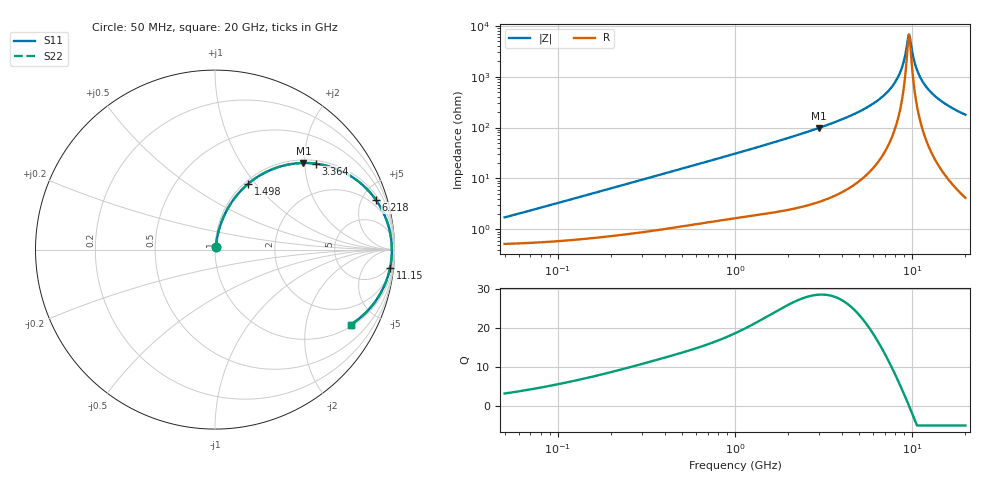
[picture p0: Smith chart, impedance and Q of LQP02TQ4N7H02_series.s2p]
!Murata Part Number: LQP02TQ4N7H02
!These Parameters are Measured in Series Mode Connection
!  o--[Z]--o
!Port1  Port2
!  o-------o
!Freq. Start=50[MHz] Stop=20[GHz], 401[Steps]
# Hz S RI R 50
!Freq.(Hz) S11(Real) S11(Imag) S21(Real) S21(Imag) S12(Real) S12(Imag) S22(Real) S22(Imag)
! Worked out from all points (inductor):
!   401 points, 50 MHz to 20 GHz, reference 50 ohm
!   read as one part in series: L = 5.21 nH near 51.52 MHz
!   highest Q = 28.4 at 2.985 GHz (marker M1), where L = 5.24 nH
!   self-resonance near 9.6 GHz
!   S11 on the Smith chart (normalised r, x): 50 MHz: 1.01, +0.03; 1.498 GHz: 1.04, +0.92; 3.364 GHz: 1.08, +2.28; 6.218 GHz: 1.36, +6.34; 11.15 GHz: 4, -19; 20 GHz: 1.08, -3.57
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5e7  0.00541 0.0162  0.9946 -0.0162  0.9946 -0.0162  0.00541 0.0162
1.364002e8  0.00826 0.0433  0.9917 -0.0433  0.9917 -0.0433  0.00826 0.0433
3.721004e8  0.0226 0.1126  0.9774 -0.1126  0.9774 -0.1126  0.0226 0.1126
1e9  0.098 0.2715  0.902 -0.2715  0.902 -0.2715  0.098 0.2715
1.498439e9  0.1859 0.3676  0.8141 -0.3676  0.8141 -0.3676  0.1859 0.3676
2.728004e9  0.4409 0.4791  0.5591 -0.4791  0.5591 -0.4791  0.4409 0.4791
2.98453e9  0.4922 0.4827  0.5078 -0.4827  0.5078 -0.4827  0.4922 0.4827
3.364474e9  0.5635 0.4786  0.4365 -0.4786  0.4365 -0.4786  0.5635 0.4786
4.748272e9  0.7679 0.4022  0.2321 -0.4022  0.2321 -0.4022  0.7679 0.4022
6.217679e9  0.8966 0.2771  0.1034 -0.2771  0.1034 -0.2771  0.8966 0.2771
7.442007e9  0.9536 0.1699  0.0464 -0.1699  0.0464 -0.1699  0.9536 0.1699
8.020766e9  0.9692 0.1216  0.0308 -0.1216  0.0308 -0.1216  0.9692 0.1216
8.516016e9  0.9779 0.0818  0.0221 -0.0818  0.0221 -0.0818  0.9779 0.0818
8.907419e9  0.9823 0.0516  0.0177 -0.0516  0.0177 -0.0516  0.9823 0.0516
9.457416e9  0.9852 0.011  0.0148 -0.011  0.0148 -0.011  0.9852 0.011
9.600142e9  0.9854 0.000829  0.0146 -0.000829  0.0146 -0.000829  0.9854 0.000829
9.892087e9  0.9851 -0.0195  0.0149 0.0195  0.0149 0.0195  0.9851 -0.0195
1.050288e10  0.9821 -0.0602  0.0179 0.0602  0.0179 0.0602  0.9821 -0.0602
1.115139e10  0.9756 -0.1005  0.0244 0.1005  0.0244 0.1005  0.9756 -0.1005
1.220001e10  0.9597 -0.1596  0.0403 0.1596  0.0403 0.1596  0.9597 -0.1596
1.396067e10  0.9223 -0.2435  0.0777 0.2435  0.0777 0.2435  0.9223 -0.2435
2e10  0.7558 -0.4181  0.2442 0.4181  0.2442 0.4181  0.7558 -0.4181
